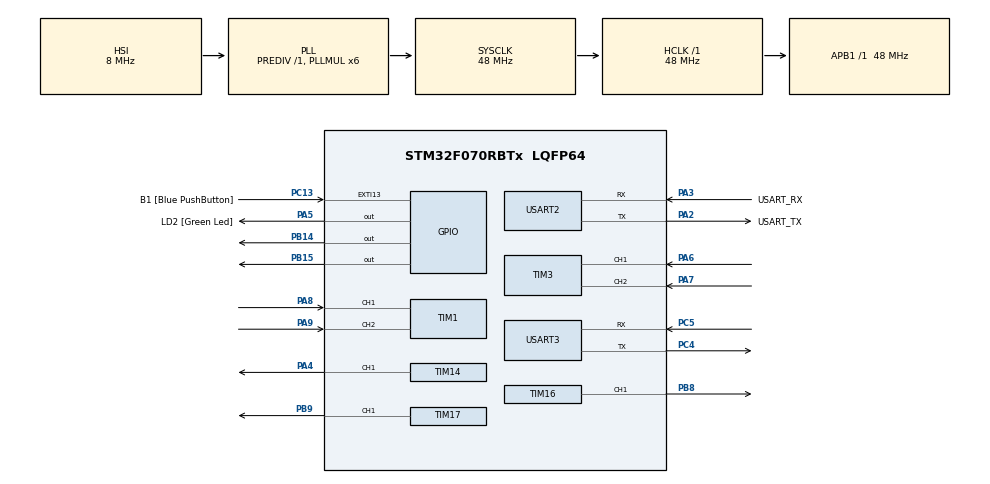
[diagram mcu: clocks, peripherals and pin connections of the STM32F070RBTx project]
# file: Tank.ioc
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Mcu.Family=STM32F0
Mcu.Name=STM32F070RBTx
Mcu.Package=LQFP64
NVIC.EXTI4_15_IRQn=true\:0\:0\:false\:false\:true\:true\:true\:true
NVIC.TIM6_IRQn=true\:1\:0\:true\:false\:true\:true\:true\:true
NVIC.USART2_IRQn=true\:0\:0\:true\:false\:true\:true\:true\:true
NVIC.USART3_4_IRQn=true\:0\:0\:false\:false\:true\:true\:true\:true
PA13.GPIO_Label=TMS
PA13.Mode=Serial_Wire
PA13.Signal=SYS_SWDIO
PA14.GPIO_Label=TCK
PA14.Mode=Serial_Wire
PA14.Signal=SYS_SWCLK
PA2.GPIO_Label=USART_TX
PA2.Mode=Asynchronous
PA2.Signal=USART2_TX
PA3.GPIO_Label=USART_RX
PA3.Mode=Asynchronous
PA3.Signal=USART2_RX
PA4.Signal=S_TIM14_CH1
PA5.GPIO_Label=LD2 [Green Led]
PA5.Signal=GPIO_Output
PA6.Signal=S_TIM3_CH1
PA7.Signal=S_TIM3_CH2
PA8.Signal=S_TIM1_CH1
PA9.Signal=S_TIM1_CH2
PB14.Signal=GPIO_Output
PB15.Signal=GPIO_Output
PB8.Signal=S_TIM16_CH1
PB9.Signal=S_TIM17_CH1
PC13.GPIO_Label=B1 [Blue PushButton]
PC13.GPIO_ModeDefaultEXTI=GPIO_MODE_IT_FALLING
PC13.Signal=GPXTI13
PC14-OSC32_IN.GPIO_Label=RCC_OSC32_IN
PC14-OSC32_IN.Mode=LSE-External-Oscillator
PC14-OSC32_IN.Signal=RCC_OSC32_IN
PC15-OSC32_OUT.GPIO_Label=RCC_OSC32_OUT
PC15-OSC32_OUT.Mode=LSE-External-Oscillator
PC15-OSC32_OUT.Signal=RCC_OSC32_OUT
PC4.Mode=Asynchronous
PC4.Signal=USART3_TX
PC5.Mode=Asynchronous
PC5.Signal=USART3_RX
PF0-OSC_IN.GPIO_Label=RCC_OSC_IN
PF0-OSC_IN.Mode=HSE-External-Clock-Source
PF0-OSC_IN.Signal=RCC_OSC_IN
PF1-OSC_OUT.GPIO_Label=RCC_OSC_OUT
PF1-OSC_OUT.Signal=RCC_OSC_OUT
ProjectManager.HeapSize=0x200
ProjectManager.StackSize=0x400
ProjectManager.TargetToolchain=STM32CubeIDE
RCC.AHBFreq_Value=48000000
RCC.APB1Freq_Value=48000000
RCC.APB1TimFreq_Value=48000000
RCC.HCLKFreq_Value=48000000
RCC.PLLMUL=RCC_PLL_MUL6
RCC.SYSCLKFreq_VALUE=48000000
RCC.SYSCLKSource=RCC_SYSCLKSOURCE_PLLCLK
SH.S_TIM14_CH1.0=TIM14_CH1,PWM Generation1 CH1
SH.S_TIM16_CH1.0=TIM16_CH1,PWM Generation1 CH1
SH.S_TIM17_CH1.0=TIM17_CH1,PWM Generation1 CH1
SH.S_TIM1_CH1.0=TIM1_CH1,Encoder_Interface
SH.S_TIM1_CH2.0=TIM1_CH2,Encoder_Interface
SH.S_TIM3_CH1.0=TIM3_CH1,Encoder_Interface
SH.S_TIM3_CH2.0=TIM3_CH2,Encoder_Interface
TIM14.Channel=TIM_CHANNEL_1
TIM16.Channel=TIM_CHANNEL_1
TIM16.Period=48000
TIM16.Prescaler=19
TIM17.Channel=TIM_CHANNEL_1
USART2.VirtualMode-Asynchronous=VM_ASYNC
USART3.VirtualMode-Asynchronous=VM_ASYNC
VP_TIM14_VS_ClockSourceINT.Mode=Enable_Timer
VP_TIM16_VS_ClockSourceINT.Mode=Enable_Timer
VP_TIM17_VS_ClockSourceINT.Mode=Enable_Timer
VP_TIM6_VS_ClockSourceINT.Mode=Enable_Timer
board=NUCLEO-F070RB

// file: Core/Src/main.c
/* USER CODE BEGIN Header */
/**
  ******************************************************************************
  * @file           : main.c
  * @brief          : Main program body
  ******************************************************************************
  * @attention
  *
  * Copyright (c) 2024 STMicroelectronics.
  * All rights reserved.
  *
  * This software is licensed under terms that can be found in the LICENSE file
  * in the root directory of this software component.
  * If no LICENSE file comes with this software, it is provided AS-IS.
  *
  ******************************************************************************
  */
/* USER CODE END Header */
#include "main.h"

/* USER CODE BEGIN Includes */

// for various integer sub-types
#include <stdint.h>
// library containing functions for string manipulation
#include <string.h>
// library containing general-purpose input/output functions
#include <stdio.h>

/* USER CODE END Includes */

/* USER CODE BEGIN PD */

// Address of the register that stores the duty value for the PWM signals controlling the turret, motor1 and motor2

# define PWM_Duty_Value_Register_Turret ((volatile uint16_t * )0x40014434)
# define PWM_Duty_Value_Register_Motor1 ((volatile uint16_t * )0x40002034)
# define PWM_Duty_Value_Register_Motor2 ((volatile uint16_t * )0x40014834)

/* USER CODE END PD */

/* USER CODE BEGIN PM */

// number of encoder counts per rotation
#define counts_per_rotation ((uint8_t) 14)
// sampling period ( in milliseconds )
#define sampling_period ((uint8_t) 50)
// value used for conversion from counts to RPM
#define counts_to_rpm (((float)(( 1e3 / sampling_period )) * 2 / 5) / counts_per_rotation)
// value used for scaling the duty cycle to the PWM timer period
#define scale_to_period ((uint8_t) 30)
// address of the register that stores the duty value for the PWM signal
#define current_gain ((float) 0.7410)
// gain for the previous error ( used in the PI algorithm )
#define previous_gain ((float) -0.6377)
// slope value used for ( linear ) conversion from duty cycle to RPM
#define slope ((float) 1.2937)
// offset value used for ( linear ) conversion from duty cycle to RPM
#define offset ((float) -39.1606)

/* USER CODE END PM */

TIM_HandleTypeDef htim1;
TIM_HandleTypeDef htim3;
TIM_HandleTypeDef htim6;
TIM_HandleTypeDef htim14;
TIM_HandleTypeDef htim16;
TIM_HandleTypeDef htim17;

UART_HandleTypeDef huart2;
UART_HandleTypeDef huart3;

void SystemClock_Config(void);
static void MX_GPIO_Init(void);
static void MX_USART2_UART_Init(void);
static void MX_USART3_UART_Init(void);
static void MX_TIM16_Init(void);
static void MX_TIM6_Init(void);
static void MX_TIM1_Init(void);
static void MX_TIM3_Init(void);
static void MX_TIM14_Init(void);
static void MX_TIM17_Init(void);

/* USER CODE BEGIN 0 */

// Buffer for data received through UART2 from the terminal
static uint8_t RX_Buffer[20];
// Index for the buffer mentioned above
static uint8_t RX_Buffer_Index = 0;
// Buffer for data sent through UART2 to the terminal
static uint8_t TX_Buffer[30];
// Buffer for data received through UART3 from the wireless device
static uint8_t Bluetooth_RX_Buffer[35];
// Index for the buffer mentioned above
static uint8_t Bluetooth_RX_Buffer_Index = 0;
// Buffer for data sent through UART3 to the wireless device
static uint8_t Bluetooth_TX_Buffer[10];

// Variable keeping track of the number of messages sent from the terminal
static uint8_t nr_sent_messages = 0;
// Semaphore variable used for loop-back of data sent from the terminal ( used for debugging purposes )
static uint8_t TX_Semaphore = 0;
// Variable used for cycling through a couple of pre-defined messages from the wireless device ( used in the user button
// interrupt callback )
static uint8_t message_nr = 0;

// variables used for motor readings
// counter value at current reading
uint16_t count_motor1;
uint16_t count_motor2;
// counter value at previous reading
uint16_t count_prev_motor1;
uint16_t count_prev_motor2;
// motor shaft rotation speed ( measured in RPM )
float speed_motor1;
float speed_motor2;
// variable that stores the direction of rotation of the motor: 1 = forward , -1 = backwards
int8_t direction_1 = 1;
int8_t direction_2 = 1;
// variable that stores the value of the set speed based on the PWM value
float set_speed_motor1;
float set_speed_motor2;
// variable that stores the value of the previous speed error
float error_prev_motor1;
float error_prev_motor2;
// variable that stores the value of the current speed error
float error_curr_motor1;
float error_curr_motor2;
// variable that stores the command sent to the process at the current step
float command_curr_motor1;
float command_curr_motor2;
// variable that stores the command sent to the process at the previous step
float command_prev_motor1;
float command_prev_motor2;

// callback function that gets called when a full sampling period has passed
void HAL_TIM_PeriodElapsedCallback(TIM_HandleTypeDef *htim)
{
	// timer 6 is the timer used for sampling the sensor readings
	if(htim->Instance == TIM6)
	{

		// the counter stores the number of rising-edge and falling-edge transitions
		// performed by Channel 1 and Channel 2 during a full rotation of the motor shaft
		count_motor1 = __HAL_TIM_GET_COUNTER(&htim1);
		count_motor2 = __HAL_TIM_GET_COUNTER(&htim3);

		// variable that stores the difference between current count and previous count
        int32_t diff_motor1 = (((int32_t)count_motor1) - ((int32_t)count_prev_motor1)) * direction_1;
        int32_t diff_motor2 = (((int32_t)count_motor2) - ((int32_t)count_prev_motor2)) * direction_2;

        // if the difference is negative it means that the timer 3 counter performed an overflow
		if( diff_motor1 < 0 ) diff_motor1 += 0x0000FFFF;
		if( diff_motor2 < 0 ) diff_motor2 += 0x0000FFFF;

	    // calculate current speed ( measured in RPM )
	    speed_motor1 = counts_to_rpm * diff_motor1;
	    speed_motor2 = counts_to_rpm * diff_motor2;

	    // calculate the current error between the set and actual speed
	    error_curr_motor1 = set_speed_motor1 - speed_motor1;
	    error_curr_motor2 = set_speed_motor2 - speed_motor2;

	    // calculate the value of the command ( in RPM )
	    command_curr_motor1 = command_prev_motor1 + current_gain * error_curr_motor1 + previous_gain * error_prev_motor1;
	    command_curr_motor2 = command_prev_motor2 + current_gain * error_curr_motor2 + previous_gain * error_prev_motor2;

	    // convert the command to duty cycle value and write it in the register that stores said value
	    * PWM_Duty_Value_Register_Motor1 =  (uint16_t)(30 * ((command_curr_motor1 - offset) / slope));
	    * PWM_Duty_Value_Register_Motor2 =  (uint16_t)(30 * ((command_curr_motor2 - offset) / slope));

	    // update the value of error_prev
	    error_prev_motor1 = error_curr_motor1;
	    error_prev_motor2 = error_curr_motor2;

	    // update the value of command_prev
	    command_prev_motor1 = command_curr_motor1;
	    command_prev_motor2 = command_curr_motor2;

	    // update count_prev variable with the value of count
	    count_prev_motor1 = count_motor1;
	    count_prev_motor2 = count_motor2;
	}
}

//Callback for the GPIO Interrupt
//Executed when the user button is pressed, sending basic commands to the wireless device to check its functionality
void HAL_GPIO_EXTI_Callback(uint16_t GPIO_Pin)
{
  // User Button ( blue ) is set on the 13th pin of port C
  if(GPIO_Pin == GPIO_PIN_13)
  {
	    // switch clause used for cycling through messages for the wireless device
        switch(message_nr)
        {
        		case 0:
        		// Test Message, should return OK if everything functions well
                sprintf(Bluetooth_TX_Buffer,"AT\r\n");
	            if(HAL_UART_Transmit_IT(&huart3,Bluetooth_TX_Buffer,strlen(Bluetooth_TX_Buffer)) != HAL_OK)
	            {
	               Error_Handler();
	            }
	            break;

        		case 1:
        		// Message that returns the name of the wireless device
        		sprintf(Bluetooth_TX_Buffer,"AT+NAME\r\n");
                if(HAL_UART_Transmit_IT(&huart3,Bluetooth_TX_Buffer,strlen(Bluetooth_TX_Buffer)) != HAL_OK)
                {
                   Error_Handler();
   	            }
                break;

        		case 2:
        		// Message that returns the pin code of the wireless device
        		sprintf(Bluetooth_TX_Buffer,"AT+PIN\r\n");
        	    if(HAL_UART_Transmit_IT(&huart3,Bluetooth_TX_Buffer,strlen(Bluetooth_TX_Buffer)) != HAL_OK)
        		{
        		   Error_Handler();
        		}
        	    break;
        }
        // increment the message counter, reset to 0 when it reaches value 3
        message_nr += 1;
        if(message_nr == 3)
        	message_nr = 0;
  }
}

// callback for completion of message reception through UART
void HAL_UART_RxCpltCallback(UART_HandleTypeDef *huart)
{
	// message received through UART2
	if(huart->Instance == USART2)
  	{
	       // data is being received one byte at a time ( the length of the message is unknown ), so we
	       // we consider a message as completed if it ends with the '\n' character
		   if(*(RX_Buffer + RX_Buffer_Index - 1) == '\n')
		   {
		      // setting TX_Semaphore so that a the message containing the number of messages sent through
		      // UART2 is sent to the terminal only after a full message is received
			   TX_Semaphore = 1;

		      // send the received message to the wireless device
		      if(HAL_UART_Transmit_IT(&huart3,RX_Buffer,RX_Buffer_Index) != HAL_OK)
		      {
		         Error_Handler();
	          }

		      // loop-back the received message so that we can check its integrity
		      if(HAL_UART_Transmit_IT(&huart2,RX_Buffer,RX_Buffer_Index) != HAL_OK)
              {
		         Error_Handler();
		      }

		      // reset the buffer index for the buffer containing the received message to 0
		      RX_Buffer_Index = 0;

	       }

		   // restart data reception
           if(HAL_UART_Receive_IT(&huart2,RX_Buffer + (RX_Buffer_Index ++),1) != HAL_OK)
		   {
	          Error_Handler();
		   }
  	}

	// message received through UART3
	else if(huart->Instance == USART3)
	{

	       // data is being received one byte at a time ( the length of the message is unknown ), so we
	       // we consider a message as completed if it ends with the '\n' character ( coming from terminal )
		   // or with the '%' or 'm' character ( coming from the wireless device )
		   switch(*(Bluetooth_RX_Buffer + Bluetooth_RX_Buffer_Index - 1))
		   {
		   // Message ends with the '\n' character, having the decimal code 10
		   case '\n':
			  // send the message received from the wireless device to the terminal for debugging
			  // purposes
              if(HAL_UART_Transmit_IT(&huart2,Bluetooth_RX_Buffer,Bluetooth_RX_Buffer_Index) != HAL_OK)
		      {
		         Error_Handler();
	          }
              // reset the buffer index for the buffer containing the received message to 0
		      Bluetooth_RX_Buffer_Index = 0;
		   break;

		   // Message ends with the '%' character, having the decimal code 10
		   case '%':

			   // in this case, we consider that the received message
		       // only contains 2 useful bytes and the '%' end-of-message character, those bytes
		       // representing the duty of the servo-motor controlling the turret, duty ranging from 5 to 10 %,
               // having a sensibility of 0.1 %

			   // writing the duty value calculated based on the message received through the wireless module in the register responsible
			   // for setting the duty value of the PWM signal that controls the servo-motor that has the turret attached to it
			   * PWM_Duty_Value_Register_Turret = ( 10 * ((uint16_t)Bluetooth_RX_Buffer[0]) + ((uint16_t)Bluetooth_RX_Buffer[1]) - 528 ) * 96 + 1200;

			   // reset the buffer index for the buffer containing the received message to 0
			   Bluetooth_RX_Buffer_Index = 0;
		   break;

		   // Message ends with the 'm' character, having the decimal code 109
		   case 'm':

			   // in this case, we consider that the received message only contains 3 useful
			   // bytes and the 'm' end-of-message character, those bytes representing the
			   // duty of the PWM signals setting the motor speed and a character that decides
			   // the direction of the movement: l - left ; r - right ; f - forward ; b - backward ; s - stop

			   // convert data received from terminal into a PWM duty cycle
			   uint16_t msg_to_duty = 10 * ((uint16_t)Bluetooth_RX_Buffer[0]) + ((uint16_t)Bluetooth_RX_Buffer[1]) - 528;
			   // if the duty cycle is situated in the linear region of operation, write it in the
			   // corresponding register ( multiply it by 30 so that it scales with the PWM timer
			   // period of 3000 ). Otherwise, we set the value of said register to 0 so that we don't
			   // risk unwanted behavior from the motor.

			   // based on the same observations, we modify the value of the set_speed parameter using the
			   // first degree analytical relation obtained by linearization
			   if(msg_to_duty >= 38 && msg_to_duty <= 74)
			   {
				  // set the PWM Duty Cycle values to 0 so that no current flows through the
				  // motor initially to avoid the risk of damaging it
				  * PWM_Duty_Value_Register_Motor1 = 0;
				  set_speed_motor1 = 0;
				  * PWM_Duty_Value_Register_Motor2 = 0;
			      set_speed_motor2 = 0;

			      // checking the type of movement: forward, backward, left or right

			      // Note: pins 14 and 15 are used for setting/resetting the relays responsible
			      // for the direction of rotation of the right and, respectively, the left
			      // motor: reset state means that the motor is moving the tank forward and set
			      // means that the motor is moving the tank backward
			      switch(Bluetooth_RX_Buffer[2])
			      {
			         // forward
			         case 'f':
			        	 direction_1 = 1;
			        	 HAL_GPIO_WritePin(GPIOB, GPIO_PIN_14, GPIO_PIN_RESET);
			        	 * PWM_Duty_Value_Register_Motor1 = msg_to_duty * scale_to_period;
			        	 set_speed_motor1 = ((float)( msg_to_duty )) * slope + offset;
			        	 direction_2 = 1;
			        	 HAL_GPIO_WritePin(GPIOB, GPIO_PIN_15, GPIO_PIN_RESET);
			        	 * PWM_Duty_Value_Register_Motor2 = msg_to_duty * scale_to_period;
			        	 set_speed_motor2 = ((float)( msg_to_duty )) * slope + offset;
			         break;

			         // backward
			      	 case 'b':
			      	     direction_1 = -1;
			      	     HAL_GPIO_WritePin(GPIOB, GPIO_PIN_14, GPIO_PIN_SET);
			      	     * PWM_Duty_Value_Register_Motor1 = msg_to_duty * scale_to_period;
			      	     set_speed_motor1 = ((float)( msg_to_duty )) * slope + offset;
			      	     direction_2 = -1;
			      	     HAL_GPIO_WritePin(GPIOB, GPIO_PIN_15, GPIO_PIN_SET);
			      	     * PWM_Duty_Value_Register_Motor2 = msg_to_duty * scale_to_period;
			      	     set_speed_motor2 = ((float)( msg_to_duty )) * slope + offset;
			      	 break;

			      	 // left
			         case 'l':
			        	 direction_1 = -1;
			        	 HAL_GPIO_WritePin(GPIOB, GPIO_PIN_14, GPIO_PIN_SET);
			             * PWM_Duty_Value_Register_Motor1 = msg_to_duty * scale_to_period;
			        	 set_speed_motor1 = ((float)( msg_to_duty )) * slope + offset;
			        	 direction_2 = 1;
			        	 HAL_GPIO_WritePin(GPIOB, GPIO_PIN_15, GPIO_PIN_RESET);
			        	 * PWM_Duty_Value_Register_Motor2 = msg_to_duty * scale_to_period;
			        	 set_speed_motor2 = ((float)( msg_to_duty )) * slope + offset;
	     	         break;

	     	         // right
	     	         case 'r':
	     	        	 direction_1 = 1;
	     	        	 HAL_GPIO_WritePin(GPIOB, GPIO_PIN_14, GPIO_PIN_RESET);
	     	             * PWM_Duty_Value_Register_Motor1 = msg_to_duty * scale_to_period;
	     	             set_speed_motor1 = ((float)( msg_to_duty )) * slope + offset;
	     	             direction_2 = -1;
	     	             HAL_GPIO_WritePin(GPIOB, GPIO_PIN_15, GPIO_PIN_SET);
	     	        	 * PWM_Duty_Value_Register_Motor2 = msg_to_duty * scale_to_period;
	     	        	 set_speed_motor2 = ((float)( msg_to_duty )) * slope + offset;
	     	         break;

	     	         // stop
	     	         case 's':
	     	        	 direction_1 = 1;
	     	        	 HAL_GPIO_WritePin(GPIOB, GPIO_PIN_14, GPIO_PIN_RESET);
	     	        	 direction_2 = 1;
	     	        	 HAL_GPIO_WritePin(GPIOB, GPIO_PIN_15, GPIO_PIN_RESET);
	     	         break;
			      }
			   }
			   else
			   {
				  direction_1 = 1;
				  HAL_GPIO_WritePin(GPIOB, GPIO_PIN_14, GPIO_PIN_RESET);
				  * PWM_Duty_Value_Register_Motor1 = 0;
		          set_speed_motor1 = 0;
			      direction_2 = 1;
			      HAL_GPIO_WritePin(GPIOB, GPIO_PIN_15, GPIO_PIN_RESET);
			      * PWM_Duty_Value_Register_Motor2 = 0;
			      set_speed_motor2 = 0;
			   }
		   // reset the buffer index for the buffer containing the received message to 0
	       Bluetooth_RX_Buffer_Index = 0;
		   break;
		   }

		   // restart data reception
		   if(HAL_UART_Receive_IT(&huart3,Bluetooth_RX_Buffer + (Bluetooth_RX_Buffer_Index ++),1) != HAL_OK)
		   {
		      Error_Handler();
	       }

           // in case the received message is longer than the buffer ( for example AT+HELP\r\n triggers such a response from
		   // the wireless device ), we reset the buffer index to 0 so that the message doesn't overwrite other memory locations
		   // and we send the 20 bytes currently present in the buffer to the terminal
		   if(Bluetooth_RX_Buffer_Index >= 35)
		   {
			  Bluetooth_RX_Buffer_Index = 0;
			  if(HAL_UART_Transmit_IT(&huart2,Bluetooth_RX_Buffer,35) != HAL_OK)
			  {
		         Error_Handler();
			  }
		   }

	}
}

// callback for completion of message transmission through UART
void HAL_UART_TxCpltCallback(UART_HandleTypeDef *huart)
{
	// message sent through UART2
	if(huart->Instance == USART2)
	{
	       // only send the message containing the number of sent messages if the semaphore is
	       // set, so that we know a completed message has been received
	       if(TX_Semaphore == 1)
	       {
	    	  // writing the message containing the number of sent messages in the buffer used
	    	  // for data transmission
		      sprintf(TX_Buffer,"\n\rSent messages number :%d\r\n",++nr_sent_messages);

		      //sending the message to the terminal
		      if(HAL_UART_Transmit_IT(&huart2,TX_Buffer,strlen(TX_Buffer)) != HAL_OK)
		      {
		 	     Error_Handler();
	          }

		      // reseting TX_Semaphore so that no more data is sent to the terminal until another
		      // full message is received
		      TX_Semaphore = 0;
	       }
	}

	// message sent through UART3
	else if(huart->Instance == USART3)
	{
       // nothing implemented here yet, might be used for expansion in the future
	}

}
/* USER CODE END 0 */

int main(void)
{

  /* MCU Configuration--------------------------------------------------------*/

  /* Reset of all peripherals, Initializes the Flash interface and the Systick. */
  HAL_Init();

  /* Configure the system clock */
  SystemClock_Config();

  /* Initialize all configured peripherals */
  MX_GPIO_Init();
  MX_USART2_UART_Init();
  MX_USART3_UART_Init();
  MX_TIM16_Init();
  MX_TIM6_Init();
  MX_TIM1_Init();
  MX_TIM3_Init();
  MX_TIM14_Init();
  MX_TIM17_Init();
  /* USER CODE BEGIN 2 */

  // Start receiving data through UART2 ( Terminal ) in interrupt mode
  if(HAL_UART_Receive_IT(&huart2,RX_Buffer + (RX_Buffer_Index ++) ,1) != HAL_OK)
  {
	  Error_Handler();
  }

  // Start receiving data through UART3 ( wireless device ) in interrupt mode
  if(HAL_UART_Receive_IT(&huart3,Bluetooth_RX_Buffer + (Bluetooth_RX_Buffer_Index ++),1) != HAL_OK)
  {
  	  Error_Handler();
  }

  // Starting Timer16 in PWM mode to control the servo-motor moving the turret
  if(HAL_TIM_PWM_Start(&htim16,TIM_CHANNEL_1) != HAL_OK)
  {
	  Error_Handler();
  }

  // starting Timer14 in PWM mode to control motor1
  if(HAL_TIM_PWM_Start(&htim14,TIM_CHANNEL_1) != HAL_OK)
  {
	  Error_Handler();
  }

  // starting Timer17 in PWM mode to control motor2
  if(HAL_TIM_PWM_Start(&htim17,TIM_CHANNEL_1) != HAL_OK)
  {
	  Error_Handler();
  }

  // starting Timer3 in encoder mode for motor1
  if(HAL_TIM_Encoder_Start(&htim3,TIM_CHANNEL_ALL) != HAL_OK)
  {
	  Error_Handler();
  }

  // starting Timer1 in encoder mode for motor2
  if(HAL_TIM_Encoder_Start(&htim1,TIM_CHANNEL_ALL) != HAL_OK)
  {
	  Error_Handler();
  }

  // starting Timer 6 in normal mode to be used as a sampling clock

  if(HAL_TIM_Base_Start_IT(&htim6) != HAL_OK)
   {
 	  Error_Handler();
   }
  /* USER CODE END 2 */

  /* Infinite loop */
  while (1)
  {

  }
}

void SystemClock_Config(void)
{
  RCC_OscInitTypeDef RCC_OscInitStruct = {0};
  RCC_ClkInitTypeDef RCC_ClkInitStruct = {0};

  /** Initializes the RCC Oscillators according to the specified parameters
  * in the RCC_OscInitTypeDef structure.
  */
  RCC_OscInitStruct.OscillatorType = RCC_OSCILLATORTYPE_HSI;
  RCC_OscInitStruct.HSIState = RCC_HSI_ON;
  RCC_OscInitStruct.HSICalibrationValue = RCC_HSICALIBRATION_DEFAULT;
  RCC_OscInitStruct.PLL.PLLState = RCC_PLL_ON;
  RCC_OscInitStruct.PLL.PLLSource = RCC_PLLSOURCE_HSI;
  RCC_OscInitStruct.PLL.PLLMUL = RCC_PLL_MUL6;
  RCC_OscInitStruct.PLL.PREDIV = RCC_PREDIV_DIV1;
  if (HAL_RCC_OscConfig(&RCC_OscInitStruct) != HAL_OK)
  {
    Error_Handler();
  }

  /** Initializes the CPU, AHB and APB buses clocks
  */
  RCC_ClkInitStruct.ClockType = RCC_CLOCKTYPE_HCLK|RCC_CLOCKTYPE_SYSCLK
                              |RCC_CLOCKTYPE_PCLK1;
  RCC_ClkInitStruct.SYSCLKSource = RCC_SYSCLKSOURCE_PLLCLK;
  RCC_ClkInitStruct.AHBCLKDivider = RCC_SYSCLK_DIV1;
  RCC_ClkInitStruct.APB1CLKDivider = RCC_HCLK_DIV1;

  if (HAL_RCC_ClockConfig(&RCC_ClkInitStruct, FLASH_LATENCY_1) != HAL_OK)
  {
    Error_Handler();
  }
}

static void MX_TIM1_Init(void)
{

  TIM_Encoder_InitTypeDef sConfig = {0};
  TIM_MasterConfigTypeDef sMasterConfig = {0};

  htim1.Instance = TIM1;
  htim1.Init.Prescaler = 0;
  htim1.Init.CounterMode = TIM_COUNTERMODE_UP;
  htim1.Init.Period = 65535;
  htim1.Init.ClockDivision = TIM_CLOCKDIVISION_DIV1;
  htim1.Init.RepetitionCounter = 0;
  htim1.Init.AutoReloadPreload = TIM_AUTORELOAD_PRELOAD_DISABLE;
  sConfig.EncoderMode = TIM_ENCODERMODE_TI1;
  sConfig.IC1Polarity = TIM_ICPOLARITY_RISING;
  sConfig.IC1Selection = TIM_ICSELECTION_DIRECTTI;
  sConfig.IC1Prescaler = TIM_ICPSC_DIV1;
  sConfig.IC1Filter = 0;
  sConfig.IC2Polarity = TIM_ICPOLARITY_RISING;
  sConfig.IC2Selection = TIM_ICSELECTION_DIRECTTI;
  sConfig.IC2Prescaler = TIM_ICPSC_DIV1;
  sConfig.IC2Filter = 0;
  if (HAL_TIM_Encoder_Init(&htim1, &sConfig) != HAL_OK)
  {
    Error_Handler();
  }
  sMasterConfig.MasterOutputTrigger = TIM_TRGO_RESET;
  sMasterConfig.MasterSlaveMode = TIM_MASTERSLAVEMODE_DISABLE;
  if (HAL_TIMEx_MasterConfigSynchronization(&htim1, &sMasterConfig) != HAL_OK)
  {
    Error_Handler();
  }

}

static void MX_TIM3_Init(void)
{

  TIM_Encoder_InitTypeDef sConfig = {0};
  TIM_MasterConfigTypeDef sMasterConfig = {0};

  htim3.Instance = TIM3;
  htim3.Init.Prescaler = 0;
  htim3.Init.CounterMode = TIM_COUNTERMODE_UP;
  htim3.Init.Period = 65535;
  htim3.Init.ClockDivision = TIM_CLOCKDIVISION_DIV1;
  htim3.Init.AutoReloadPreload = TIM_AUTORELOAD_PRELOAD_DISABLE;
  sConfig.EncoderMode = TIM_ENCODERMODE_TI1;
  sConfig.IC1Polarity = TIM_ICPOLARITY_RISING;
  sConfig.IC1Selection = TIM_ICSELECTION_DIRECTTI;
  sConfig.IC1Prescaler = TIM_ICPSC_DIV1;
  sConfig.IC1Filter = 0;
  sConfig.IC2Polarity = TIM_ICPOLARITY_RISING;
  sConfig.IC2Selection = TIM_ICSELECTION_DIRECTTI;
  sConfig.IC2Prescaler = TIM_ICPSC_DIV1;
  sConfig.IC2Filter = 0;
  if (HAL_TIM_Encoder_Init(&htim3, &sConfig) != HAL_OK)
  {
    Error_Handler();
  }
  sMasterConfig.MasterOutputTrigger = TIM_TRGO_RESET;
  sMasterConfig.MasterSlaveMode = TIM_MASTERSLAVEMODE_DISABLE;
  if (HAL_TIMEx_MasterConfigSynchronization(&htim3, &sMasterConfig) != HAL_OK)
  {
    Error_Handler();
  }

}

static void MX_TIM6_Init(void)
{

  htim6.Instance = TIM6;
  htim6.Init.Prescaler = sampling_period - 1;
  htim6.Init.CounterMode = TIM_COUNTERMODE_UP;
  htim6.Init.Period = 48000;
  htim6.Init.AutoReloadPreload = TIM_AUTORELOAD_PRELOAD_DISABLE;
  if (HAL_TIM_Base_Init(&htim6) != HAL_OK)
  {
    Error_Handler();
  }

}

static void MX_TIM14_Init(void)
{

  TIM_OC_InitTypeDef sConfigOC = {0};

  htim14.Instance = TIM14;
  htim14.Init.Prescaler = 0;
  htim14.Init.CounterMode = TIM_COUNTERMODE_UP;
  htim14.Init.Period = 3000;
  htim14.Init.ClockDivision = TIM_CLOCKDIVISION_DIV1;
  htim14.Init.AutoReloadPreload = TIM_AUTORELOAD_PRELOAD_DISABLE;
  if (HAL_TIM_Base_Init(&htim14) != HAL_OK)
  {
    Error_Handler();
  }
  if (HAL_TIM_PWM_Init(&htim14) != HAL_OK)
  {
    Error_Handler();
  }
  sConfigOC.OCMode = TIM_OCMODE_PWM1;
  sConfigOC.Pulse = 0;
  sConfigOC.OCPolarity = TIM_OCPOLARITY_HIGH;
  sConfigOC.OCFastMode = TIM_OCFAST_DISABLE;
  if (HAL_TIM_PWM_ConfigChannel(&htim14, &sConfigOC, TIM_CHANNEL_1) != HAL_OK)
  {
    Error_Handler();
  }
  HAL_TIM_MspPostInit(&htim14);

}

static void MX_TIM16_Init(void)
{

  TIM_OC_InitTypeDef sConfigOC = {0};
  TIM_BreakDeadTimeConfigTypeDef sBreakDeadTimeConfig = {0};

  htim16.Instance = TIM16;
  htim16.Init.Prescaler = 19;
  htim16.Init.CounterMode = TIM_COUNTERMODE_UP;
  htim16.Init.Period = 48000;
  htim16.Init.ClockDivision = TIM_CLOCKDIVISION_DIV1;
  htim16.Init.RepetitionCounter = 0;
  htim16.Init.AutoReloadPreload = TIM_AUTORELOAD_PRELOAD_DISABLE;
  if (HAL_TIM_Base_Init(&htim16) != HAL_OK)
  {
    Error_Handler();
  }
  if (HAL_TIM_PWM_Init(&htim16) != HAL_OK)
  {
    Error_Handler();
  }
  sConfigOC.OCMode = TIM_OCMODE_PWM1;
  sConfigOC.Pulse = 0;
  sConfigOC.OCPolarity = TIM_OCPOLARITY_HIGH;
  sConfigOC.OCNPolarity = TIM_OCNPOLARITY_HIGH;
  sConfigOC.OCFastMode = TIM_OCFAST_DISABLE;
  sConfigOC.OCIdleState = TIM_OCIDLESTATE_RESET;
  sConfigOC.OCNIdleState = TIM_OCNIDLESTATE_RESET;
  if (HAL_TIM_PWM_ConfigChannel(&htim16, &sConfigOC, TIM_CHANNEL_1) != HAL_OK)
  {
    Error_Handler();
  }
  sBreakDeadTimeConfig.OffStateRunMode = TIM_OSSR_DISABLE;
  sBreakDeadTimeConfig.OffStateIDLEMode = TIM_OSSI_DISABLE;
  sBreakDeadTimeConfig.LockLevel = TIM_LOCKLEVEL_OFF;
  sBreakDeadTimeConfig.DeadTime = 0;
  sBreakDeadTimeConfig.BreakState = TIM_BREAK_DISABLE;
  sBreakDeadTimeConfig.BreakPolarity = TIM_BREAKPOLARITY_HIGH;
  sBreakDeadTimeConfig.AutomaticOutput = TIM_AUTOMATICOUTPUT_DISABLE;
  if (HAL_TIMEx_ConfigBreakDeadTime(&htim16, &sBreakDeadTimeConfig) != HAL_OK)
  {
    Error_Handler();
  }
  HAL_TIM_MspPostInit(&htim16);

}

static void MX_TIM17_Init(void)
{

  TIM_OC_InitTypeDef sConfigOC = {0};
  TIM_BreakDeadTimeConfigTypeDef sBreakDeadTimeConfig = {0};

  htim17.Instance = TIM17;
  htim17.Init.Prescaler = 0;
  htim17.Init.CounterMode = TIM_COUNTERMODE_UP;
  htim17.Init.Period = 3000;
  htim17.Init.ClockDivision = TIM_CLOCKDIVISION_DIV1;
  htim17.Init.RepetitionCounter = 0;
  htim17.Init.AutoReloadPreload = TIM_AUTORELOAD_PRELOAD_DISABLE;
  if (HAL_TIM_Base_Init(&htim17) != HAL_OK)
  {
    Error_Handler();
  }
  if (HAL_TIM_PWM_Init(&htim17) != HAL_OK)
  {
    Error_Handler();
  }
  sConfigOC.OCMode = TIM_OCMODE_PWM1;
  sConfigOC.Pulse = 0;
  sConfigOC.OCPolarity = TIM_OCPOLARITY_HIGH;
  sConfigOC.OCNPolarity = TIM_OCNPOLARITY_HIGH;
  sConfigOC.OCFastMode = TIM_OCFAST_DISABLE;
  sConfigOC.OCIdleState = TIM_OCIDLESTATE_RESET;
  sConfigOC.OCNIdleState = TIM_OCNIDLESTATE_RESET;
  if (HAL_TIM_PWM_ConfigChannel(&htim17, &sConfigOC, TIM_CHANNEL_1) != HAL_OK)
  {
    Error_Handler();
  }
  sBreakDeadTimeConfig.OffStateRunMode = TIM_OSSR_DISABLE;
  sBreakDeadTimeConfig.OffStateIDLEMode = TIM_OSSI_DISABLE;
  sBreakDeadTimeConfig.LockLevel = TIM_LOCKLEVEL_OFF;
  sBreakDeadTimeConfig.DeadTime = 0;
  sBreakDeadTimeConfig.BreakState = TIM_BREAK_DISABLE;
  sBreakDeadTimeConfig.BreakPolarity = TIM_BREAKPOLARITY_HIGH;
  sBreakDeadTimeConfig.AutomaticOutput = TIM_AUTOMATICOUTPUT_DISABLE;
  if (HAL_TIMEx_ConfigBreakDeadTime(&htim17, &sBreakDeadTimeConfig) != HAL_OK)
  {
    Error_Handler();
  }
  HAL_TIM_MspPostInit(&htim17);

}

static void MX_USART2_UART_Init(void)
{

  huart2.Instance = USART2;
  huart2.Init.BaudRate = 115200;
  huart2.Init.WordLength = UART_WORDLENGTH_8B;
  huart2.Init.StopBits = UART_STOPBITS_1;
  huart2.Init.Parity = UART_PARITY_NONE;
  huart2.Init.Mode = UART_MODE_TX_RX;
  huart2.Init.HwFlowCtl = UART_HWCONTROL_NONE;
  huart2.Init.OverSampling = UART_OVERSAMPLING_16;
  huart2.Init.OneBitSampling = UART_ONE_BIT_SAMPLE_DISABLE;
  huart2.AdvancedInit.AdvFeatureInit = UART_ADVFEATURE_NO_INIT;
  if (HAL_UART_Init(&huart2) != HAL_OK)
  {
    Error_Handler();
  }

}

static void MX_USART3_UART_Init(void)
{

  huart3.Instance = USART3;
  huart3.Init.BaudRate = 38400;
  huart3.Init.WordLength = UART_WORDLENGTH_8B;
  huart3.Init.StopBits = UART_STOPBITS_1;
  huart3.Init.Parity = UART_PARITY_NONE;
  huart3.Init.Mode = UART_MODE_TX_RX;
  huart3.Init.HwFlowCtl = UART_HWCONTROL_NONE;
  huart3.Init.OverSampling = UART_OVERSAMPLING_16;
  huart3.Init.OneBitSampling = UART_ONE_BIT_SAMPLE_DISABLE;
  huart3.AdvancedInit.AdvFeatureInit = UART_ADVFEATURE_NO_INIT;
  if (HAL_UART_Init(&huart3) != HAL_OK)
  {
    Error_Handler();
  }

}

static void MX_GPIO_Init(void)
{
  GPIO_InitTypeDef GPIO_InitStruct = {0};

  /* GPIO Ports Clock Enable */
  __HAL_RCC_GPIOC_CLK_ENABLE();
  __HAL_RCC_GPIOF_CLK_ENABLE();
  __HAL_RCC_GPIOA_CLK_ENABLE();
  __HAL_RCC_GPIOB_CLK_ENABLE();

  /*Configure GPIO pin Output Level */
  HAL_GPIO_WritePin(LD2_GPIO_Port, LD2_Pin, GPIO_PIN_RESET);

  /*Configure GPIO pin Output Level */
  HAL_GPIO_WritePin(GPIOB, GPIO_PIN_14|GPIO_PIN_15, GPIO_PIN_RESET);

  /*Configure GPIO pin : B1_Pin */
  GPIO_InitStruct.Pin = B1_Pin;
  GPIO_InitStruct.Mode = GPIO_MODE_IT_FALLING;
  GPIO_InitStruct.Pull = GPIO_NOPULL;
  HAL_GPIO_Init(B1_GPIO_Port, &GPIO_InitStruct);

  /*Configure GPIO pin : LD2_Pin */
  GPIO_InitStruct.Pin = LD2_Pin;
  GPIO_InitStruct.Mode = GPIO_MODE_OUTPUT_PP;
  GPIO_InitStruct.Pull = GPIO_NOPULL;
  GPIO_InitStruct.Speed = GPIO_SPEED_FREQ_LOW;
  HAL_GPIO_Init(LD2_GPIO_Port, &GPIO_InitStruct);

  /*Configure GPIO pins : PB14 PB15 */
  GPIO_InitStruct.Pin = GPIO_PIN_14|GPIO_PIN_15;
  GPIO_InitStruct.Mode = GPIO_MODE_OUTPUT_PP;
  GPIO_InitStruct.Pull = GPIO_NOPULL;
  GPIO_InitStruct.Speed = GPIO_SPEED_FREQ_LOW;
  HAL_GPIO_Init(GPIOB, &GPIO_InitStruct);

  /* EXTI interrupt init*/
  HAL_NVIC_SetPriority(EXTI4_15_IRQn, 0, 0);
  HAL_NVIC_EnableIRQ(EXTI4_15_IRQn);

}

void Error_Handler(void)
{
  __disable_irq();
  while (1)
  {
  }
}
